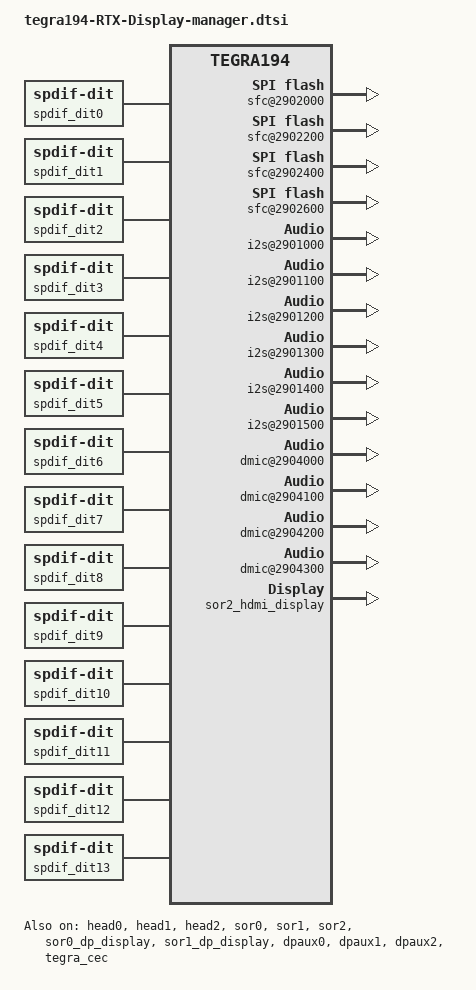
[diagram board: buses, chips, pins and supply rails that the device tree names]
/*
 * tegra194-ADT-plugin-manager.dtsi:
 *
 * Copyright (c) 2017-2018, NVIDIA CORPORATION.  All rights reserved.
 *
 * This program is free software; you can redistribute it and/or modify
 * it under the terms of the GNU General Public License as published by
 * the Free Software Foundation; version 2 of the License.
 *
 * This program is distributed in the hope that it will be useful, but WITHOUT
 * ANY WARRANTY; without even the implied warranty of MERCHANTABILITY or
 * FITNESS FOR A PARTICULAR PURPOSE.  See the GNU General Public License for
 * more details.
 */

/ {
	host1x {
		dpaux@155F0000 {
			status = "okay";
			compatible = "nvidia,tegra194-dpaux3-padctl";
			/delete-property/ power-domains;
			dpaux_default: pinmux@0 {
				dpaux3_pins {
					pins = "dpaux3-3";
					function = "i2c";
				};
			};
		};
	};
	
	/* High Definition Audio simple bus */
	hda@3510000 {
		status = "okay";
	};

	/* SPDIF simple bus */
	spdif_dit {
		compatible = "simple-bus";
		device_type = "spdif-dit";
		#address-cells = <1>;
		#size-cells = <0>;
		status = "disabled";

		spdif_dit0: spdif-dit.0@0 {
			compatible = "linux,spdif-dit";
			reg = <0x0>;
			status = "disabled";
		};

		spdif_dit1: spdif-dit.1@1 {
			compatible = "linux,spdif-dit";
			reg = <0x1>;
			status = "disabled";
		};

		spdif_dit2: spdif-dit.2@2 {
			compatible = "linux,spdif-dit";
			reg = <0x2>;
			status = "disabled";
		};

		spdif_dit3: spdif-dit.3@3 {
			compatible = "linux,spdif-dit";
			reg = <0x03>;
			status = "disabled";
		};

		spdif_dit4: spdif-dit.4@4 {
			compatible = "linux,spdif-dit";
			reg = <0x04>;
			status = "disabled";
		};

		spdif_dit5: spdif-dit.5@5 {
			compatible = "linux,spdif-dit";
			reg = <0x05>;
			status = "disabled";
		};

		spdif_dit6: spdif-dit.6@6 {
			compatible = "linux,spdif-dit";
			reg = <0x06>;
			status = "disabled";
		};

		spdif_dit7: spdif-dit.7@7 {
			compatible = "linux,spdif-dit";
			reg = <0x07>;
			status = "disabled";
		};

		spdif_dit8: spdif-dit.8@8 {
			compatible = "linux,spdif-dit";
			reg = <0x08>;
			status = "disabled";
		};

		spdif_dit9: spdif-dit.9@9 {
			compatible = "linux,spdif-dit";
			reg = <0x09>;
			status = "disabled";
		};

		spdif_dit10: spdif-dit.10@a {
			compatible = "linux,spdif-dit";
			reg = <0x0a>;
			status = "disabled";
		};

		spdif_dit11: spdif-dit.11@b {
			compatible = "linux,spdif-dit";
			reg = <0x0b>;
			status = "disabled";
		};

		spdif_dit12: spdif-dit.12@c {
			compatible = "linux,spdif-dit";
			reg = <0x0c>;
			status = "disabled";
		};

		spdif_dit13: spdif-dit.13@d {
			compatible = "linux,spdif-dit";
			reg = <0x0d>;
			status = "disabled";
		};
	};

	aconnect@2a41000 {
		status = "okay";

		ahub {
			status = "okay";

			admaif@290f000 {
				status = "okay";
			};

			sfc@2902000 {
				status = "okay";
			};

			sfc@2902200 {
				status = "okay";
			};

			sfc@2902400 {
				status = "okay";
			};

			sfc@2902600 {
				status = "okay";
			};

			spkprot@2908c00 {
				status = "okay";
			};

			amixer@290bb00 {
				status = "okay";
			};

			i2s@2901000 {
				status = "okay";
			};

			i2s@2901100 {
				status = "okay";
			};

			i2s@2901200 {
				status = "okay";
			};

			i2s@2901300 {
				status = "okay";
			};

			i2s@2901400 {
				status = "okay";
			};

			i2s@2901500 {
				status = "okay";
			};

			amx@2903000 {
				status = "okay";
			};

			amx@2903100 {
				status = "okay";
			};

			amx@2903200 {
				status = "okay";
			};

			amx@2903300 {
				status = "okay";
			};

			adx@2903800 {
				status = "okay";
			};

			adx@2903900 {
				status = "okay";
			};

			adx@2903a00 {
				status = "okay";
			};

			adx@2903b00 {
				status = "okay";
			};

			dmic@2904000 {
				status = "okay";
			};

			dmic@2904100 {
				status = "okay";
			};

			dmic@2904200 {
				status = "okay";
			};

			dmic@2904300 {
				status = "okay";
			};

			afc@2907000 {
				status = "okay";
			};

			afc@2907100 {
				status = "okay";
			};

			afc@2907200 {
				status = "okay";
			};

			afc@2907300 {
				status = "okay";
			};

			afc@2907400 {
				status = "okay";
			};

			afc@2907500 {
				status = "okay";
			};

			mvc@290a000 {
				status = "okay";
			};

			mvc@290a200 {
				status = "okay";
			};

			iqc@290e000 {
				status = "okay";
			};

			asrc@2910000 {
				status = "okay";
			};

			arad@290e400 {
				status = "okay";
			};

			ahc@290b900 {
				status = "okay";
			};

			ope@2908000 {
				status = "okay";

				peq@2908100 {
					status = "okay";
				};

				mbdrc@2908200 {
					status = "okay";
				};
			};

			dspk@2905000 {
				status = "okay";
			};

			dspk@2905100 {
			       status = "okay";
		       };
		};

		adma@2930000 {
			status = "okay";
		};

		adsp_audio {
			status = "okay";
		};
	};

	spdif_dit {
		status = "okay";

		spdif-dit.0@0 {
			status = "okay";
		};

		spdif-dit.1@1 {
			status = "okay";
		};

		spdif-dit.2@2 {
			status = "okay";
		};

		spdif-dit.3@3 {
			status = "okay";
		};

		spdif-dit.4@4 {
			status = "okay";
		};

		spdif-dit.5@5 {
			status = "okay";
		};

		spdif-dit.6@6 {
			status = "okay";
		};

		spdif-dit.7@7 {
			status = "okay";
		};

		spdif-dit.8@8 {
			status = "okay";
		};

		spdif-dit.9@9 {
			status = "okay";
		};

		spdif-dit.10@a {
			status = "okay";
		};

		spdif-dit.11@b {
			status = "okay";
		};

		spdif-dit.12@c {
			status = "okay";
		};

		spdif-dit.13@d {
			status = "okay";
		};
	};

	aconnect@2a41000 {
		status = "okay";
	
		adsp_audio {
			compr-ops = <1>;
			num-plugin = <6>;
			plugin-info-1 {
				plugin-name = "mp3-dec1";
				firmware-name = "nvmp3dec.elf";
				widget-name = "MP3-DEC1";
			};
			plugin-info-2 {
				plugin-name = "spkprot";
				firmware-name = "nvspkprot.elf";
				widget-name = "SPKPROT-SW";
			};
			plugin-info-3 {
				plugin-name = "src";
				firmware-name = "nvsrc.elf";
				widget-name = "SRC";
			};
			plugin-info-4 {
				plugin-name = "aac-dec1";
				firmware-name = "nvaacdec.elf";
				widget-name = "AAC-DEC1";
			};
			plugin-info-5 {
				plugin-name = "aec";
				firmware-name = "nvoice.elf";
				widget-name = "AEC";
			};
			plugin-info-6 {
				plugin-name = "wire";
				firmware-name = "libnvwirefx.elf";
				widget-name = "WIRE";
			};
		};
		
		agic-controller@2a41000 {
			status = "okay";
		};

		adsp@2993000 {
			status = "okay";
		};
		
		/* Default for all I2S is long fsync width(31) */
		ahub {
			/* I2S4 in Short frame sync for BT SCO */
			i2s@2901300 {
				fsync-width = <0>;
				bclk-ratio = <4>;
			};
		};
				
	};

	tegra_sound: sound {
		status = "okay";
		nvidia,num-codec-link = <12>;
		nvidia,num-clk = <8>;
		nvidia,clk-rates = < 270950400	/* PLLA_x11025_RATE */
				     11289600	/* AUD_MCLK_x11025_RATE */
				     45158400	/* PLLA_OUT0_x11025_RATE */
				     45158400	/* AHUB_x11025_RATE */
				     245760000  /* PLLA_x8000_RATE */
				     12288000	/* AUD_MCLK_x8000_RATE */
				     49152000	/* PLLA_OUT0_x8000_RATE */
				     49152000 >;/* AHUB_x8000_RATE */

		nvidia,xbar = <&tegra_axbar>;
		
		compatible = "nvidia,tegra-audio-t186ref-mobile-rt565x";
		nvidia,model = "tegra-snd-t19x-mobile-rt565x";
		clocks = <&bpmp_clks TEGRA194_CLK_PLLA>,
			 <&bpmp_clks TEGRA194_CLK_PLLA_OUT0>,
			 <&bpmp_clks TEGRA194_CLK_AUD_MCLK>;
		clock-names = "pll_a", "pll_a_out0", "extern1";
		assigned-clocks = <&bpmp_clks TEGRA194_CLK_PLLA_OUT0>,
				  <&bpmp_clks TEGRA194_CLK_AUD_MCLK>;
		assigned-clock-parents = <&bpmp_clks TEGRA194_CLK_PLLA>,
					 <&bpmp_clks TEGRA194_CLK_PLLA_OUT0>;

		nvidia,audio-routing =
			"x Headphone Jack",     "x HPO L Playback",
			"x Headphone Jack",     "x HPO R Playback",
			"x IN1P",               "x Mic Jack",
			"x IN2P",               "x Mic Jack",
			"x Int Spk",            "x SPO Playback",
			"x DMIC L1",            "x Int Mic",
			"x DMIC L2",            "x Int Mic",
			"x DMIC R1",            "x Int Mic",
			"x DMIC R2",            "x Int Mic",
			"y Headphone",          "y OUT",
			"y IN",                 "y Mic",
			"z Headphone",          "z OUT",
			"z IN",                 "z Mic",
			"m Headphone",          "m OUT",
			"m IN",                 "m Mic",
			"n Headphone",          "n OUT",
			"n IN",                 "n Mic",
			"o Headphone",          "o OUT",
			"o IN",                 "o Mic",
			"a IN",                 "a Mic",
			"b IN",                 "b Mic",
			"c IN",                 "c Mic",
			"d IN",                 "d Mic",
			"d1 Headphone",         "d1 OUT",
			"d2 Headphone",         "d2 OUT";

		mclk-fs = <256>;

		nvidia,dai-link-1 {
			link-name = "rt565x-playback";
			cpu-dai = <&tegra_i2s1>;
			codec-dai = <&rt5658>;
			cpu-dai-name = "I2S1";
			codec-dai-name = "rt5659-aif1";
			format = "i2s";
			bit-format = "s16_le";
			srate = <48000>;
			num-channel = <2>;
			ignore_suspend;
			name-prefix = "x";
			status = "okay";
		};
		
		hdr40_snd_link_i2s: nvidia,dai-link-2 {
			link-name = "spdif-dit-1";
			cpu-dai = <&tegra_i2s2>;
			codec-dai = <&spdif_dit1>;
			cpu-dai-name = "I2S2";
			codec-dai-name = "dit-hifi";
			format = "i2s";
			bit-format = "s16_le";
			srate = <48000>;
			num-channel = <2>;
			ignore_suspend;
			name-prefix = "y";
			status = "okay";
		};
		nvidia,dai-link-3 {
			link-name = "spdif-dit-2";
			cpu-dai = <&tegra_i2s3>;
			codec-dai = <&spdif_dit2>;
			cpu-dai-name = "I2S3";
			codec-dai-name = "dit-hifi";
			format = "i2s";
			bit-format = "s16_le";
			srate = <48000>;
			num-channel = <2>;
			ignore_suspend;
			name-prefix = "z";
			status = "okay";
		};
		nvidia,dai-link-4 {
			link-name = "spdif-dit-3";
			cpu-dai = <&tegra_i2s4>;
			codec-dai = <&spdif_dit3>;
			cpu-dai-name = "I2S4";
			codec-dai-name = "dit-hifi";
			format = "dsp_a";
			bit-format = "s16_le";
			srate = <8000>;
			num-channel = <1>;
			ignore_suspend;
			name-prefix = "m";
			status = "okay";
			tx-mask = <0xFF>;
			rx-mask = <0xFF>;
			bitclock-inversion;		
		};
		nvidia,dai-link-5 {
			link-name = "spdif-dit-4";
			cpu-dai = <&tegra_i2s5>;
			codec-dai = <&spdif_dit4>;
			cpu-dai-name = "I2S5";
			codec-dai-name = "dit-hifi";
			format = "i2s";
			bit-format = "s16_le";
			srate = <48000>;
			num-channel = <2>;
			ignore_suspend;
			name-prefix = "n";
			status = "okay";
		};
		nvidia,dai-link-6 {
			link-name = "spdif-dit-6";
			cpu-dai = <&tegra_i2s6>;
			codec-dai = <&spdif_dit6>;
			cpu-dai-name = "I2S6";
			codec-dai-name = "dit-hifi";
			format = "i2s";
			bit-format = "s16_le";
			srate = <8000>;
			num-channel = <1>;
			ignore_suspend;
			name-prefix = "o";
			status = "okay";
		};
		nvidia,dai-link-7 {
			link-name = "spdif-dit-7";
			cpu-dai = <&tegra_dmic1>;
			codec-dai = <&spdif_dit7>;
			cpu-dai-name = "DMIC1";
			codec-dai-name = "dit-hifi";
			format = "i2s";
			bit-format = "s16_le";
			srate = <48000>;
			ignore_suspend;
			num-channel = <2>;
			name-prefix = "a";
			status = "okay";
		};
		nvidia,dai-link-8 {
			link-name = "spdif-dit-8";
			cpu-dai = <&tegra_dmic2>;
			codec-dai = <&spdif_dit8>;
			cpu-dai-name = "DMIC2";
			codec-dai-name = "dit-hifi";
			format = "i2s";
			bit-format = "s16_le";
			srate = <48000>;
			ignore_suspend;
			num-channel = <2>;
			name-prefix = "b";
			status = "okay";
		};
		nvidia,dai-link-9 {
			link-name = "spdif-dit-9";
			cpu-dai = <&tegra_dmic3>;
			codec-dai = <&spdif_dit9>;
			cpu-dai-name = "DMIC3";
			codec-dai-name = "dit-hifi";
			format = "i2s";
			bit-format = "s16_le";
			srate = <48000>;
			ignore_suspend;
			num-channel = <2>;
			name-prefix = "c";
			status = "okay";
		};
		nvidia,dai-link-10 {
			link-name = "spdif-dit-10";
			cpu-dai = <&tegra_dmic4>;
			codec-dai = <&spdif_dit10>;
			cpu-dai-name = "DMIC4";
			codec-dai-name = "dit-hifi";
			format = "i2s";
			bit-format = "s16_le";
			srate = <48000>;
			ignore_suspend;
			num-channel = <2>;
			name-prefix = "d";
			status = "okay";
		};
		nvidia,dai-link-11 {
			link-name = "dspk1-playback";
			cpu-dai = <&tegra_dspk1>;
			codec-dai = <&spdif_dit11>;
			cpu-dai-name = "DSPK1";
			codec-dai-name = "dit-hifi";
			format = "i2s";
			bit-format = "s16_le";
			srate = <48000>;
			num-channel = <2>;
			ignore_suspend;
			name-prefix = "d1";
			status = "okay";
		};
		nvidia,dai-link-12 {
			link-name = "dspk2-playback";
			cpu-dai = <&tegra_dspk2>;
			codec-dai = <&spdif_dit12>;
			cpu-dai-name = "DSPK2";
			codec-dai-name = "dit-hifi";
			format = "i2s";
			bit-format = "s16_le";
			srate = <48000>;
			num-channel = <2>;
			ignore_suspend;
			name-prefix = "d2";
			status = "okay";
		};

	};
	
	
	
	
};

/* Display Configure */
&head0 {
	status = "okay";
	nvidia,fb-bpp = <32>;
	nvidia,fbmem-size = <265420800>; /* 8K (7680*4320) 32bpp double buffered */
	nvidia,fb-flags = <TEGRA_FB_FLIP_ON_PROBE>;
	win-mask = <0x3>;
	nvidia,fb-win = <0>;
	nvidia,dc-connector = <&sor2>;
	nvidia,dc-flags = <TEGRA_DC_FLAG_ENABLED>;
	avdd_hdmi-supply = <&p2888_spmic_sd0>; /* 1v0 */
	avdd_hdmi_pll-supply = <&p2888_spmic_sd1>; /* 1v8 */
	vdd_hdmi_5v0-supply = <&p2822_vdd_hdmi_5v0>; /* 5v0 */
	extcon-cables = <&typec_port0 2 &typec_port1 2>;
	extcon-cable-names = "typec0", "typec1";
	#extcon-cells = <1>;
};

&head1 {
	status = "okay";
	nvidia,fb-bpp = <32>;
	nvidia,fbmem-size = <265420800>; /* 8K (7680*4320) 32bpp double buffered */
	nvidia,fb-flags = <TEGRA_FB_FLIP_ON_PROBE>;
	win-mask = <0xC>;
	nvidia,fb-win = <2>;
	nvidia,dc-connector = <&sor0>;
	nvidia,dc-flags = <TEGRA_DC_FLAG_ENABLED>;
	vdd-dp-pwr-supply = <&p2888_spmic_sd0>;
	avdd-dp-pll-supply = <&p2888_spmic_sd1>;
	vdd-edp-sec-mode-supply = <&battery_reg>;
	vdd-dp-pad-supply = <&battery_reg>;
	vdd_hdmi_5v0-supply = <&p2822_vdd_hdmi_5v0>;
	extcon-cables = <&typec_port0 2 &typec_port1 2>;
	extcon-cable-names = "typec0", "typec1";
	#extcon-cells = <1>;
};

&head2 {
	status = "okay";
	nvidia,fb-bpp = <32>;
	nvidia,fbmem-size = <265420800>; /* 8K (7680*4320) 32bpp double buffered */
	nvidia,fb-flags = <TEGRA_FB_FLIP_ON_PROBE>;
	win-mask = <0x30>;
	nvidia,fb-win = <4>;
	nvidia,dc-connector = <&sor1>;
	nvidia,dc-flags = <TEGRA_DC_FLAG_ENABLED>;
	vdd-dp-pwr-supply = <&p2888_spmic_sd0>;
	avdd-dp-pll-supply = <&p2888_spmic_sd1>;
	vdd-edp-sec-mode-supply = <&battery_reg>;
	vdd-dp-pad-supply = <&battery_reg>;
	vdd_hdmi_5v0-supply = <&p2822_vdd_hdmi_5v0>;
	extcon-cables = <&typec_port0 2 &typec_port1 2>;
	extcon-cable-names = "typec0", "typec1";
	#extcon-cells = <1>;
};

&sor0 {
	nvidia,hpd-gpio = <&tegra_main_gpio TEGRA194_MAIN_GPIO(M, 0) GPIO_ACTIVE_HIGH>;
	nvidia,ddc-i2c-bus = <&dp_aux_ch0_i2c>;
};

&sor1 {
	nvidia,hpd-gpio = <&tegra_main_gpio TEGRA194_MAIN_GPIO(M, 1) GPIO_ACTIVE_HIGH>;
	nvidia,ddc-i2c-bus = <&dp_aux_ch1_i2c>;
};

&sor2 {
	nvidia,hpd-gpio = <&tegra_main_gpio TEGRA194_MAIN_GPIO(M, 2) GPIO_ACTIVE_HIGH>;
	nvidia,ddc-i2c-bus = <&dp_aux_ch2_i2c>;
};

&sor3 {
	nvidia,hpd-gpio = <&tegra_main_gpio TEGRA194_MAIN_GPIO(M, 3) GPIO_ACTIVE_HIGH>;
	nvidia,ddc-i2c-bus = <&dp_aux_ch3_i2c>;
};

&sor0_hdmi_display {
	generic-infoframe-type = <HDMI_INFOFRAME_TYPE_HDR>;
	disp-default-out {
		nvidia,out-type = <TEGRA_DC_OUT_HDMI>;
		nvidia,out-hotplug-state = <0>;
		nvidia,out-parent-clk = "pll_d";
		nvidia,out-xres = <4096>;
		nvidia,out-yres = <2160>;
	};
};

&sor1_hdmi_display {
	generic-infoframe-type = <HDMI_INFOFRAME_TYPE_HDR>;
	disp-default-out {
		nvidia,out-type = <TEGRA_DC_OUT_HDMI>;
		nvidia,out-hotplug-state = <0>;
		nvidia,out-parent-clk = "plld2";
		nvidia,out-xres = <4096>;
		nvidia,out-yres = <2160>;
	};
};

&sor2_hdmi_display {
	generic-infoframe-type = <HDMI_INFOFRAME_TYPE_HDR>;
	disp-default-out {
		nvidia,out-type = <TEGRA_DC_OUT_HDMI>;
		nvidia,out-hotplug-state = <0>;
		nvidia,out-parent-clk = "plld3";
		nvidia,out-xres = <4096>;
		nvidia,out-yres = <2160>;
	};
};

&sor3_hdmi_display {
	generic-infoframe-type = <HDMI_INFOFRAME_TYPE_HDR>;
	disp-default-out {
		nvidia,out-type = <TEGRA_DC_OUT_HDMI>;
		nvidia,out-hotplug-state = <0>;
		nvidia,out-parent-clk = "plld4";
		nvidia,out-xres = <4096>;
		nvidia,out-yres = <2160>;
	};
};

&sor0_dp_display {
	nvidia,is_ext_dp_panel = <1>;
	nvidia,pc2-disabled;
	disp-default-out {
		nvidia,out-type = <TEGRA_DC_OUT_DP>;
		nvidia,out-hotplug-state = <0>;
		nvidia,out-parent-clk = "pll_d";
		nvidia,out-xres = <4096>;
		nvidia,out-yres = <2160>;
	};
	/* Setting for LT data */
	lt-data {
		tegra-dp-vs-regs {
			/* postcursor2 L0 */
			pc2_l0 = <
				/* pre-emphasis: L0, L1, L2, L3 */
				0x15 0x1c 0x23 0x2d /* voltage swing: L0 */
				0x20 0x27 0x2f /* L1 */
				0x2c 0x36 /* L2 */
				0x3c /* L3 */
			>;
			/* postcursor2 L1 - UNUSED */
			pc2_l1 = <
				0x00 0x00 0x00 0x00
				0x00 0x00 0x00
				0x00 0x00
				0x00
			>;
			/* postcursor2 L2 - UNUSED */
			pc2_l2 = <
				0x00 0x00 0x00 0x00
				0x00 0x00 0x00
				0x00 0x00
				0x00
			>;
			/* postcursor2 L3 - UNUSED */
			pc2_l3 = <
				0x00 0x00 0x00 0x00
				0x00 0x00 0x00
				0x00 0x00
				0x00
			>;
		};
		tegra-dp-pe-regs {
			/* postcursor2 L0 */
			pc2_l0 = <
				/* pre-emphasis: L0, L1, L2, L3 */
				0x00 0x0b 0x18 0x2d /* voltage swing: L0 */
				0x00 0x0f 0x20 /* L1 */
				0x01 0x18 /* L2 */
				0x00 /* L3 */
			>;
			/* postcursor2 L1 - UNUSED */
			pc2_l1 = <
				0x00 0x00 0x00 0x00
				0x00 0x00 0x00
				0x00 0x00
				0x00
			>;
			/* postcursor2 L2 - UNUSED */
			pc2_l2 = <
				0x00 0x00 0x00 0x00
				0x00 0x00 0x00
				0x00 0x00
				0x00
			>;
			/* postcursor2 L3 - UNUSED */
			pc2_l3 = <
				0x00 0x00 0x00 0x00
				0x00 0x00 0x00
				0x00 0x00
				0x00
			>;
		};
		tegra-dp-pc-regs {
			/* postcursor2 L0 */
			pc2_l0 = <
				/* pre-emphasis: L0, L1, L2, L3 */
				0x00 0x00 0x00 0x00 /* voltage swing: L0 */
				0x00 0x00 0x00 /* L1 */
				0x00 0x00 /* L2 */
				0x00 /* L3 */
			>;
			/* postcursor2 L1 - UNUSED */
			pc2_l1 = <
				0x00 0x00 0x00 0x00
				0x00 0x00 0x00
				0x00 0x00
				0x00
			>;
			/* postcursor2 L2 - UNUSED */
			pc2_l2 = <
				0x00 0x00 0x00 0x00
				0x00 0x00 0x00
				0x00 0x00
				0x00
			>;
			/* postcursor2 L3 - UNUSED */
			pc2_l3 = <
				0x00 0x00 0x00 0x00
				0x00 0x00 0x00
				0x00 0x00
				0x00
			>;
		};
		tegra-dp-tx-pu {
			/* postcursor2 L0 */
			pc2_l0 = <
				/* pre-emphasis: L0, L1, L2, L3 */
				0x20 0x30 0x40 0x60 /* voltage swing: L0 */
				0x30 0x40 0x60 /* L1 */
				0x40 0x60 /* L2 */
				0x60 /* L3 */
			>;
			/* postcursor2 L1 - UNUSED */
			pc2_l1 = <
				0x00 0x00 0x00 0x00
				0x00 0x00 0x00
				0x00 0x00
				0x00
			>;
			/* postcursor2 L2 - UNUSED */
			pc2_l2 = <
				0x00 0x00 0x00 0x00
				0x00 0x00 0x00
				0x00 0x00
				0x00
			>;
			/* postcursor2 L3 - UNUSED */
			pc2_l3 = <
				0x00 0x00 0x00 0x00
				0x00 0x00 0x00
				0x00 0x00
				0x00
			>;
		};
	};//lt-data;
};

&sor1_dp_display {
	nvidia,is_ext_dp_panel = <1>;
	nvidia,pc2-disabled;
	disp-default-out {
		nvidia,out-type = <TEGRA_DC_OUT_DP>;
		nvidia,out-hotplug-state = <0>;
		nvidia,out-parent-clk = "plld2";
		nvidia,out-xres = <4096>;
		nvidia,out-yres = <2160>;
	};
	/* Setting for LT data */
	lt-data {
		tegra-dp-vs-regs {
			/* postcursor2 L0 */
			pc2_l0 = <
				/* pre-emphasis: L0, L1, L2, L3 */
				0x15 0x1c 0x23 0x2d /* voltage swing: L0 */
				0x20 0x27 0x2f /* L1 */
				0x2c 0x36 /* L2 */
				0x3c /* L3 */
			>;
			/* postcursor2 L1 - UNUSED */
			pc2_l1 = <
				0x00 0x00 0x00 0x00
				0x00 0x00 0x00
				0x00 0x00
				0x00
			>;
			/* postcursor2 L2 - UNUSED */
			pc2_l2 = <
				0x00 0x00 0x00 0x00
				0x00 0x00 0x00
				0x00 0x00
				0x00
			>;
			/* postcursor2 L3 - UNUSED */
			pc2_l3 = <
				0x00 0x00 0x00 0x00
				0x00 0x00 0x00
				0x00 0x00
				0x00
			>;
		};
		tegra-dp-pe-regs {
			/* postcursor2 L0 */
			pc2_l0 = <
				/* pre-emphasis: L0, L1, L2, L3 */
				0x00 0x0b 0x18 0x2d /* voltage swing: L0 */
				0x00 0x0f 0x20 /* L1 */
				0x01 0x18 /* L2 */
				0x00 /* L3 */
			>;
			/* postcursor2 L1 - UNUSED */
			pc2_l1 = <
				0x00 0x00 0x00 0x00
				0x00 0x00 0x00
				0x00 0x00
				0x00
			>;
			/* postcursor2 L2 - UNUSED */
			pc2_l2 = <
				0x00 0x00 0x00 0x00
				0x00 0x00 0x00
				0x00 0x00
				0x00
			>;
			/* postcursor2 L3 - UNUSED */
			pc2_l3 = <
				0x00 0x00 0x00 0x00
				0x00 0x00 0x00
				0x00 0x00
				0x00
			>;
		};
		tegra-dp-pc-regs {
			/* postcursor2 L0 */
			pc2_l0 = <
				/* pre-emphasis: L0, L1, L2, L3 */
				0x00 0x00 0x00 0x00 /* voltage swing: L0 */
				0x00 0x00 0x00 /* L1 */
				0x00 0x00 /* L2 */
				0x00 /* L3 */
			>;
			/* postcursor2 L1 - UNUSED */
			pc2_l1 = <
				0x00 0x00 0x00 0x00
				0x00 0x00 0x00
				0x00 0x00
				0x00
			>;
			/* postcursor2 L2 - UNUSED */
			pc2_l2 = <
				0x00 0x00 0x00 0x00
				0x00 0x00 0x00
				0x00 0x00
				0x00
			>;
			/* postcursor2 L3 - UNUSED */
			pc2_l3 = <
				0x00 0x00 0x00 0x00
				0x00 0x00 0x00
				0x00 0x00
				0x00
			>;
		};
		tegra-dp-tx-pu {
			/* postcursor2 L0 */
			pc2_l0 = <
				/* pre-emphasis: L0, L1, L2, L3 */
				0x20 0x30 0x40 0x60 /* voltage swing: L0 */
				0x30 0x40 0x60 /* L1 */
				0x40 0x60 /* L2 */
				0x60 /* L3 */
			>;
			/* postcursor2 L1 - UNUSED */
			pc2_l1 = <
				0x00 0x00 0x00 0x00
				0x00 0x00 0x00
				0x00 0x00
				0x00
			>;
			/* postcursor2 L2 - UNUSED */
			pc2_l2 = <
				0x00 0x00 0x00 0x00
				0x00 0x00 0x00
				0x00 0x00
				0x00
			>;
			/* postcursor2 L3 - UNUSED */
			pc2_l3 = <
				0x00 0x00 0x00 0x00
				0x00 0x00 0x00
				0x00 0x00
				0x00
			>;
		};
	};//lt-data;
};

&sor2_dp_display {
	nvidia,is_ext_dp_panel = <1>;
	nvidia,pc2-disabled;
	disp-default-out {
		nvidia,out-type = <TEGRA_DC_OUT_DP>;
		nvidia,out-hotplug-state = <0>;
		nvidia,out-parent-clk = "plld3";
		nvidia,out-xres = <4096>;
		nvidia,out-yres = <2160>;
	};
	/* Setting for LT data */
	lt-data {
		tegra-dp-vs-regs {
			/* postcursor2 L0 */
			pc2_l0 = <
				/* pre-emphasis: L0, L1, L2, L3 */
				0x15 0x1c 0x23 0x2d /* voltage swing: L0 */
				0x20 0x27 0x2f /* L1 */
				0x2c 0x36 /* L2 */
				0x3c /* L3 */
			>;
			/* postcursor2 L1 - UNUSED */
			pc2_l1 = <
				0x00 0x00 0x00 0x00
				0x00 0x00 0x00
				0x00 0x00
				0x00
			>;
			/* postcursor2 L2 - UNUSED */
			pc2_l2 = <
				0x00 0x00 0x00 0x00
				0x00 0x00 0x00
				0x00 0x00
				0x00
			>;
			/* postcursor2 L3 - UNUSED */
			pc2_l3 = <
				0x00 0x00 0x00 0x00
				0x00 0x00 0x00
				0x00 0x00
				0x00
			>;
		};
		tegra-dp-pe-regs {
			/* postcursor2 L0 */
			pc2_l0 = <
				/* pre-emphasis: L0, L1, L2, L3 */
				0x00 0x0b 0x18 0x2d /* voltage swing: L0 */
				0x00 0x0f 0x20 /* L1 */
				0x01 0x18 /* L2 */
				0x00 /* L3 */
			>;
			/* postcursor2 L1 - UNUSED */
			pc2_l1 = <
				0x00 0x00 0x00 0x00
				0x00 0x00 0x00
				0x00 0x00
				0x00
			>;
			/* postcursor2 L2 - UNUSED */
			pc2_l2 = <
				0x00 0x00 0x00 0x00
				0x00 0x00 0x00
				0x00 0x00
				0x00
			>;
			/* postcursor2 L3 - UNUSED */
			pc2_l3 = <
				0x00 0x00 0x00 0x00
				0x00 0x00 0x00
				0x00 0x00
				0x00
			>;
		};
		tegra-dp-pc-regs {
			/* postcursor2 L0 */
			pc2_l0 = <
				/* pre-emphasis: L0, L1, L2, L3 */
				0x00 0x00 0x00 0x00 /* voltage swing: L0 */
				0x00 0x00 0x00 /* L1 */
				0x00 0x00 /* L2 */
				0x00 /* L3 */
			>;
			/* postcursor2 L1 - UNUSED */
			pc2_l1 = <
				0x00 0x00 0x00 0x00
				0x00 0x00 0x00
				0x00 0x00
				0x00
			>;
			/* postcursor2 L2 - UNUSED */
			pc2_l2 = <
				0x00 0x00 0x00 0x00
				0x00 0x00 0x00
				0x00 0x00
				0x00
			>;
			/* postcursor2 L3 - UNUSED */
			pc2_l3 = <
				0x00 0x00 0x00 0x00
				0x00 0x00 0x00
				0x00 0x00
				0x00
			>;
		};
		tegra-dp-tx-pu {
			/* postcursor2 L0 */
			pc2_l0 = <
				/* pre-emphasis: L0, L1, L2, L3 */
				0x20 0x30 0x40 0x60 /* voltage swing: L0 */
				0x30 0x40 0x60 /* L1 */
				0x40 0x60 /* L2 */
				0x60 /* L3 */
			>;
			/* postcursor2 L1 - UNUSED */
			pc2_l1 = <
				0x00 0x00 0x00 0x00
				0x00 0x00 0x00
				0x00 0x00
				0x00
			>;
			/* postcursor2 L2 - UNUSED */
			pc2_l2 = <
				0x00 0x00 0x00 0x00
				0x00 0x00 0x00
				0x00 0x00
				0x00
			>;
			/* postcursor2 L3 - UNUSED */
			pc2_l3 = <
				0x00 0x00 0x00 0x00
				0x00 0x00 0x00
				0x00 0x00
				0x00
			>;
		};
	};//lt-data;
};

&sor3_dp_display {
	nvidia,is_ext_dp_panel = <1>;
	nvidia,pc2-disabled;
	disp-default-out {
		nvidia,out-type = <TEGRA_DC_OUT_DP>;
		nvidia,out-hotplug-state = <0>;
		nvidia,out-parent-clk = "plld4";
		nvidia,out-xres = <4096>;
		nvidia,out-yres = <2160>;
	};
	/* Setting for LT data */
	lt-data {
		tegra-dp-vs-regs {
			/* postcursor2 L0 */
			pc2_l0 = <
				/* pre-emphasis: L0, L1, L2, L3 */
				0x15 0x1c 0x23 0x2d /* voltage swing: L0 */
				0x20 0x27 0x2f /* L1 */
				0x2c 0x36 /* L2 */
				0x3c /* L3 */
			>;
			/* postcursor2 L1 - UNUSED */
			pc2_l1 = <
				0x00 0x00 0x00 0x00
				0x00 0x00 0x00
				0x00 0x00
				0x00
			>;
			/* postcursor2 L2 - UNUSED */
			pc2_l2 = <
				0x00 0x00 0x00 0x00
				0x00 0x00 0x00
				0x00 0x00
				0x00
			>;
			/* postcursor2 L3 - UNUSED */
			pc2_l3 = <
				0x00 0x00 0x00 0x00
				0x00 0x00 0x00
				0x00 0x00
				0x00
			>;
		};
		tegra-dp-pe-regs {
			/* postcursor2 L0 */
			pc2_l0 = <
				/* pre-emphasis: L0, L1, L2, L3 */
				0x00 0x0b 0x18 0x2d /* voltage swing: L0 */
				0x00 0x0f 0x20 /* L1 */
				0x01 0x18 /* L2 */
				0x00 /* L3 */
			>;
			/* postcursor2 L1 - UNUSED */
			pc2_l1 = <
				0x00 0x00 0x00 0x00
				0x00 0x00 0x00
				0x00 0x00
				0x00
			>;
			/* postcursor2 L2 - UNUSED */
			pc2_l2 = <
				0x00 0x00 0x00 0x00
				0x00 0x00 0x00
				0x00 0x00
				0x00
			>;
			/* postcursor2 L3 - UNUSED */
			pc2_l3 = <
				0x00 0x00 0x00 0x00
				0x00 0x00 0x00
				0x00 0x00
				0x00
			>;
		};
		tegra-dp-pc-regs {
			/* postcursor2 L0 */
			pc2_l0 = <
				/* pre-emphasis: L0, L1, L2, L3 */
				0x00 0x00 0x00 0x00 /* voltage swing: L0 */
				0x00 0x00 0x00 /* L1 */
				0x00 0x00 /* L2 */
				0x00 /* L3 */
			>;
			/* postcursor2 L1 - UNUSED */
			pc2_l1 = <
				0x00 0x00 0x00 0x00
				0x00 0x00 0x00
				0x00 0x00
				0x00
			>;
			/* postcursor2 L2 - UNUSED */
			pc2_l2 = <
				0x00 0x00 0x00 0x00
				0x00 0x00 0x00
				0x00 0x00
				0x00
			>;
			/* postcursor2 L3 - UNUSED */
			pc2_l3 = <
				0x00 0x00 0x00 0x00
				0x00 0x00 0x00
				0x00 0x00
				0x00
			>;
		};
		tegra-dp-tx-pu {
			/* postcursor2 L0 */
			pc2_l0 = <
				/* pre-emphasis: L0, L1, L2, L3 */
				0x20 0x30 0x40 0x60 /* voltage swing: L0 */
				0x30 0x40 0x60 /* L1 */
				0x40 0x60 /* L2 */
				0x60 /* L3 */
			>;
			/* postcursor2 L1 - UNUSED */
			pc2_l1 = <
				0x00 0x00 0x00 0x00
				0x00 0x00 0x00
				0x00 0x00
				0x00
			>;
			/* postcursor2 L2 - UNUSED */
			pc2_l2 = <
				0x00 0x00 0x00 0x00
				0x00 0x00 0x00
				0x00 0x00
				0x00
			>;
			/* postcursor2 L3 - UNUSED */
			pc2_l3 = <
				0x00 0x00 0x00 0x00
				0x00 0x00 0x00
				0x00 0x00
				0x00
			>;
		};
	};//lt-data;
};

&sor0 {
	status = "okay";
	nvidia,active-panel = <&sor0_dp_display>;
	nvidia,typec-port = /bits/ 8 <0>;
};

&sor0_dp_display {
	status = "okay";
	nvidia,is_ext_dp_panel = <1>;
};

&sor1 {
	status = "okay";
	nvidia,active-panel = <&sor1_dp_display>;
	nvidia,typec-port = /bits/ 8 <1>;
};

&sor1_dp_display {
	status = "okay";
	nvidia,is_ext_dp_panel = <1>;
};

&sor2 {
	status = "okay";
	nvidia,active-panel = <&sor2_hdmi_display>;
};

&sor2_hdmi_display {
	status = "okay";
	disp-default-out {
		nvidia,out-flags = <TEGRA_DC_OUT_HOTPLUG_LOW>;
	};
};

&dpaux0 {
	status = "okay";
};

&dpaux1 {
	status = "okay";
};

&dpaux2 {
	status = "okay";
};

&tegra_cec {
	status = "okay";
};
